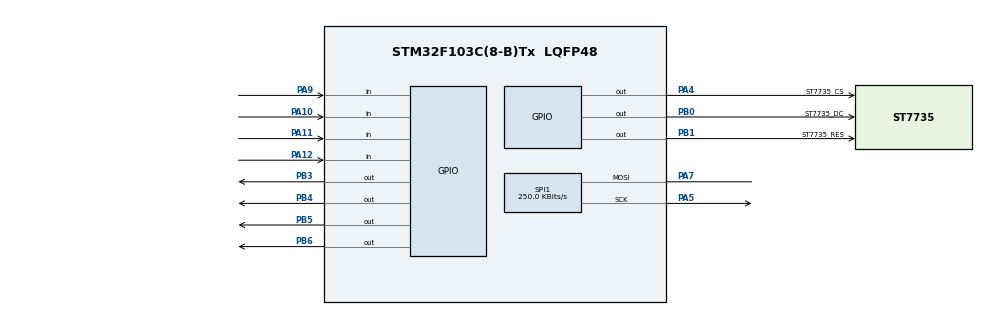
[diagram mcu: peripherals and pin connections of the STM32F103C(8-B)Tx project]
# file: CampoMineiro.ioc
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Mcu.Family=STM32F1
Mcu.Name=STM32F103C(8-B)Tx
Mcu.Package=LQFP48
NVIC.PriorityGroup=NVIC_PRIORITYGROUP_4
PA10.GPIO_PuPd=GPIO_PULLDOWN
PA10.Signal=GPIO_Input
PA11.GPIO_PuPd=GPIO_PULLDOWN
PA11.Signal=GPIO_Input
PA12.GPIO_PuPd=GPIO_PULLDOWN
PA12.Signal=GPIO_Input
PA13.Mode=Serial_Wire
PA13.Signal=SYS_JTMS-SWDIO
PA14.Mode=Serial_Wire
PA14.Signal=SYS_JTCK-SWCLK
PA4.GPIO_Label=ST7735_CS
PA4.Signal=GPIO_Output
PA5.Mode=Simplex_Bidirectional_Master
PA5.Signal=SPI1_SCK
PA7.Mode=Simplex_Bidirectional_Master
PA7.Signal=SPI1_MOSI
PA9.GPIO_PuPd=GPIO_PULLDOWN
PA9.Signal=GPIO_Input
PB0.GPIO_Label=ST7735_DC
PB0.Signal=GPIO_Output
PB1.GPIO_Label=ST7735_RES
PB1.Signal=GPIO_Output
PB3.GPIO_PuPd=GPIO_NOPULL
PB3.Signal=GPIO_Output
PB4.Signal=GPIO_Output
PB5.Signal=GPIO_Output
PB6.Signal=GPIO_Output
ProjectManager.HeapSize=0x200
ProjectManager.StackSize=0x400
ProjectManager.TargetToolchain=STM32CubeIDE
RCC.APB1Freq_Value=8000000
RCC.APB2Freq_Value=8000000
SPI1.BaudRatePrescaler=SPI_BAUDRATEPRESCALER_32
SPI1.CalculateBaudRate=250.0 KBits/s
SPI1.Direction=SPI_DIRECTION_1LINE
SPI1.Mode=SPI_MODE_MASTER
SPI1.VirtualType=VM_MASTER
board=custom

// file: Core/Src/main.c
/* USER CODE BEGIN Header */
/**
  ******************************************************************************
  * @file           : main.c
  * @brief          : Main program body
  ******************************************************************************
  * @attention
  *
  * <h2><center>&copy; Copyright (c) 2024 STMicroelectronics.
  * All rights reserved.</center></h2>
  *
  * This software component is licensed by ST under BSD 3-Clause license,
  * the "License"; You may not use this file except in compliance with the
  * License. You may obtain a copy of the License at:
  *                        opensource.org/licenses/BSD-3-Clause
  *
  ******************************************************************************
  */
/* USER CODE END Header */
#include "main.h"

/* USER CODE BEGIN Includes */
#include "ST7735/st7735.h"
/* USER CODE END Includes */

/* USER CODE BEGIN PD */
#define BOTAO9 HAL_GPIO_ReadPin(GPIOA,GPIO_PIN_9)
#define BOTAO10 HAL_GPIO_ReadPin(GPIOA,GPIO_PIN_10)
#define BOTAO11 HAL_GPIO_ReadPin(GPIOA,GPIO_PIN_11)
#define BOTAO12 HAL_GPIO_ReadPin(GPIOA,GPIO_PIN_12)
/* USER CODE END PD */

SPI_HandleTypeDef hspi1;

void SystemClock_Config(void);
static void MX_GPIO_Init(void);
static void MX_SPI1_Init(void);

void Menu(void);
short Bombs(void);
void Controls(void);

int main(void)
{

  /* MCU Configuration--------------------------------------------------------*/

  /* Reset of all peripherals, Initializes the Flash interface and the Systick. */
  HAL_Init();

  /* Configure the system clock */
  SystemClock_Config();

  /* Initialize all configured peripherals */
  MX_GPIO_Init();
  MX_SPI1_Init();
  /* USER CODE BEGIN 2 */
  ST7735_Init();
  /* USER CODE END 2 */

  /* Infinite loop */
  while (1)
  {
	  //ST7735_Test();
	  void Menu(void);
  }
}

void SystemClock_Config(void)
{
  RCC_OscInitTypeDef RCC_OscInitStruct = {0};
  RCC_ClkInitTypeDef RCC_ClkInitStruct = {0};

  /** Initializes the RCC Oscillators according to the specified parameters
  * in the RCC_OscInitTypeDef structure.
  */
  RCC_OscInitStruct.OscillatorType = RCC_OSCILLATORTYPE_HSI;
  RCC_OscInitStruct.HSIState = RCC_HSI_ON;
  RCC_OscInitStruct.HSICalibrationValue = RCC_HSICALIBRATION_DEFAULT;
  RCC_OscInitStruct.PLL.PLLState = RCC_PLL_NONE;
  if (HAL_RCC_OscConfig(&RCC_OscInitStruct) != HAL_OK)
  {
    Error_Handler();
  }
  /** Initializes the CPU, AHB and APB buses clocks
  */
  RCC_ClkInitStruct.ClockType = RCC_CLOCKTYPE_HCLK|RCC_CLOCKTYPE_SYSCLK
                              |RCC_CLOCKTYPE_PCLK1|RCC_CLOCKTYPE_PCLK2;
  RCC_ClkInitStruct.SYSCLKSource = RCC_SYSCLKSOURCE_HSI;
  RCC_ClkInitStruct.AHBCLKDivider = RCC_SYSCLK_DIV1;
  RCC_ClkInitStruct.APB1CLKDivider = RCC_HCLK_DIV1;
  RCC_ClkInitStruct.APB2CLKDivider = RCC_HCLK_DIV1;

  if (HAL_RCC_ClockConfig(&RCC_ClkInitStruct, FLASH_LATENCY_0) != HAL_OK)
  {
    Error_Handler();
  }
}

static void MX_SPI1_Init(void)
{

  /* SPI1 parameter configuration*/
  hspi1.Instance = SPI1;
  hspi1.Init.Mode = SPI_MODE_MASTER;
  hspi1.Init.Direction = SPI_DIRECTION_1LINE;
  hspi1.Init.DataSize = SPI_DATASIZE_8BIT;
  hspi1.Init.CLKPolarity = SPI_POLARITY_LOW;
  hspi1.Init.CLKPhase = SPI_PHASE_1EDGE;
  hspi1.Init.NSS = SPI_NSS_SOFT;
  hspi1.Init.BaudRatePrescaler = SPI_BAUDRATEPRESCALER_32;
  hspi1.Init.FirstBit = SPI_FIRSTBIT_MSB;
  hspi1.Init.TIMode = SPI_TIMODE_DISABLE;
  hspi1.Init.CRCCalculation = SPI_CRCCALCULATION_DISABLE;
  hspi1.Init.CRCPolynomial = 10;
  if (HAL_SPI_Init(&hspi1) != HAL_OK)
  {
    Error_Handler();
  }

}

static void MX_GPIO_Init(void)
{
  GPIO_InitTypeDef GPIO_InitStruct = {0};

  /* GPIO Ports Clock Enable */
  __HAL_RCC_GPIOA_CLK_ENABLE();
  __HAL_RCC_GPIOB_CLK_ENABLE();

  /*Configure GPIO pin Output Level */
  HAL_GPIO_WritePin(ST7735_CS_GPIO_Port, ST7735_CS_Pin, GPIO_PIN_RESET);

  /*Configure GPIO pin Output Level */
  HAL_GPIO_WritePin(GPIOB, ST7735_DC_Pin|ST7735_RES_Pin|GPIO_PIN_3|GPIO_PIN_4
                          |GPIO_PIN_5|GPIO_PIN_6, GPIO_PIN_RESET);

  /*Configure GPIO pin : ST7735_CS_Pin */
  GPIO_InitStruct.Pin = ST7735_CS_Pin;
  GPIO_InitStruct.Mode = GPIO_MODE_OUTPUT_PP;
  GPIO_InitStruct.Pull = GPIO_NOPULL;
  GPIO_InitStruct.Speed = GPIO_SPEED_FREQ_LOW;
  HAL_GPIO_Init(ST7735_CS_GPIO_Port, &GPIO_InitStruct);

  /*Configure GPIO pins : ST7735_DC_Pin ST7735_RES_Pin PB3 PB4
                           PB5 PB6 */
  GPIO_InitStruct.Pin = ST7735_DC_Pin|ST7735_RES_Pin|GPIO_PIN_3|GPIO_PIN_4
                          |GPIO_PIN_5|GPIO_PIN_6;
  GPIO_InitStruct.Mode = GPIO_MODE_OUTPUT_PP;
  GPIO_InitStruct.Pull = GPIO_NOPULL;
  GPIO_InitStruct.Speed = GPIO_SPEED_FREQ_LOW;
  HAL_GPIO_Init(GPIOB, &GPIO_InitStruct);

  /*Configure GPIO pins : PA9 PA10 PA11 PA12 */
  GPIO_InitStruct.Pin = GPIO_PIN_9|GPIO_PIN_10|GPIO_PIN_11|GPIO_PIN_12;
  GPIO_InitStruct.Mode = GPIO_MODE_INPUT;
  GPIO_InitStruct.Pull = GPIO_PULLDOWN;
  HAL_GPIO_Init(GPIOA, &GPIO_InitStruct);

}

/* USER CODE BEGIN 4 */
void Menu(void)
{
	short escolha =1;
	ST7735_FillScreen(BLACK);
	ST7735_WriteString(50, 20, "CAMPO MINEIRO", Font_16x26 , BLACK, WHITE);
	ST7735_WriteString(40, 60, "PA9 - PLAY", Font_11x18, BLACK, WHITE);
	ST7735_WriteString(40, 80, "PA10 - BOMBS", Font_11x18, BLACK, WHITE);
	ST7735_WriteString(40, 100, "PA11 - CONTROLS", Font_11x18, BLACK, WHITE);
    HAL_Delay(2000);

    while(escolha =1)
    {
    	if (BOTAO9 == 0 && BOTAO10 == 1 && BOTAO11 == 1 && BOTAO12 == 1) {
    		escolha=2;
    	}

    	else if (BOTAO9 == 1 && BOTAO10 == 0 && BOTAO11 == 1 && BOTAO12 == 1) {
    		escolha=2;
    	}

    	else if (BOTAO9 == 1 && BOTAO10 == 1 && BOTAO11 == 0 && BOTAO12 == 1) {
    		escolha=2;
    	}
    }
}
short Bombs(void)
{

}
void Controls(void) {
    int escolha=0;

    ST7735_FillScreen(WHITE);
    ST7735_WriteString(50, 20, "CAMPO MINEIRO", Font_16x26 , WHITE, BLACK);
    ST7735_WriteString(40, 60, "PA9 - ESQUERDA ",Font_11x18, WHITE, BLACK);
    ST7735_WriteString(40, 60, "PA9 - ESQUERDA ",Font_11x18, WHITE, BLACK);
    ST7735_WriteString(40, 60, "PA9 - ESQUERDA ",Font_11x18, WHITE, BLACK);
    ST7735_WriteString(40, 60, "PA9 - ESQUERDA ",Font_11x18, WHITE, BLACK);
    ST7735_WriteString(40, 60, "PA9 - ESQUERDA ",Font_11x18, WHITE, BLACK);

		while(escolha == 0){

		if (BOTAO12 == 0) {
			escolha = 1;
		}

}
}
/* USER CODE END 4 */

void Error_Handler(void)
{
  __disable_irq();
  while (1)
  {
  }
}

/************************ (C) COPYRIGHT STMicroelectronics *****END OF FILE****/
